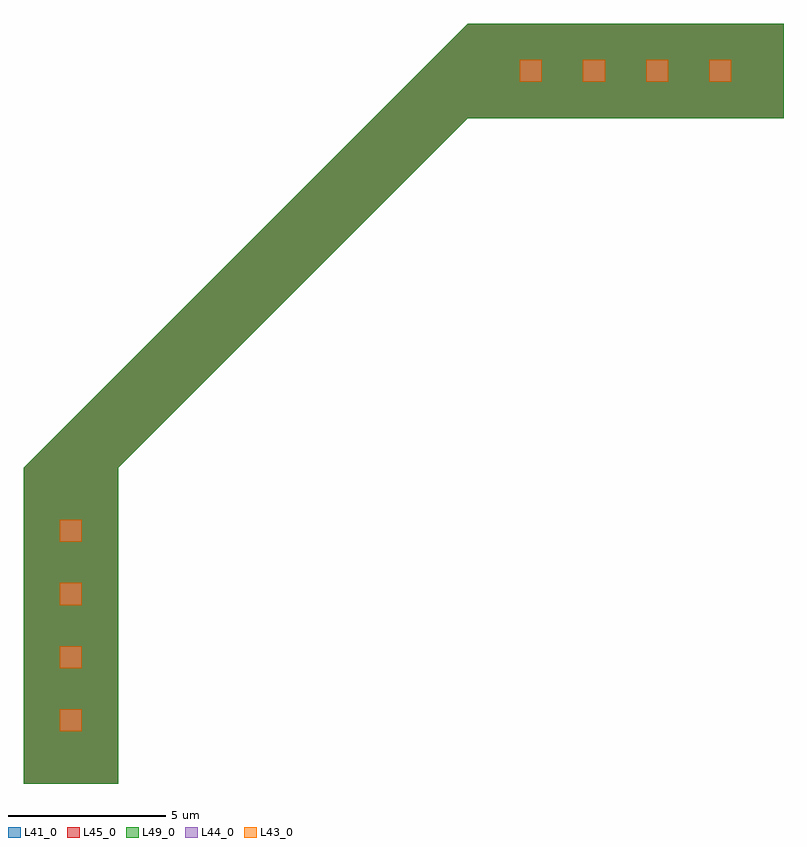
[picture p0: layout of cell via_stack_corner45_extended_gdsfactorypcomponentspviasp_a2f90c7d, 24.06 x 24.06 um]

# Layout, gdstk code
from math import pi, radians
import gdstk
lib = gdstk.Library(unit=1e-6, precision=1e-09)
def R(c, l, rs):  # rectangles x0, y0, x1, y1
    for r in rs: c.add(gdstk.rectangle(r[:2], r[2:], *l))
def P(c, l, *ps):  # polygons
    for p in ps: c.add(gdstk.Polygon(p, *l))
L41_0 = (41, 0)
L43_0 = (43, 0)
L44_0 = (44, 0)
L45_0 = (45, 0)
L49_0 = (49, 0)

via_stack_corner45_gdsfa = lib.new_cell('via_stack_corner45_gdsfactorypcomponentspviaspvia_stack_61191643')
P(via_stack_corner45_gdsfa, L41_0, [(-3,-1.061),(11.061,13),(11.061,10),(0,-1.061)])
P(via_stack_corner45_gdsfa, L45_0, [(-3,-1.061),(11.061,13),(11.061,10),(0,-1.061)])
P(via_stack_corner45_gdsfa, L49_0, [(-3,-1.061),(11.061,13),(11.061,10),(0,-1.061)])

compass_gdsfactorypcompo = lib.new_cell('compass_gdsfactorypcomponentspshapespcompass_S10_3_LM1__e4be3564')
R(compass_gdsfactorypcompo, L41_0, [(-5,-1.5,5,1.5)])

c_compass_gdsfactorypcompo = lib.new_cell('compass_gdsfactorypcomponentspshapespcompass_S10_3_LM2__7649253a')
R(c_compass_gdsfactorypcompo, L45_0, [(-5,-1.5,5,1.5)])

c_compass_gdsfactorypcompo_ = lib.new_cell('compass_gdsfactorypcomponentspshapespcompass_S10_3_LM3__10d12c87')
R(c_compass_gdsfactorypcompo_, L49_0, [(-5,-1.5,5,1.5)])

via_gdsfactorypcomponent = lib.new_cell('via_gdsfactorypcomponentspviaspvia_S0p7_0p7_E1_LVIA1_BL_0068d91e')
R(via_gdsfactorypcomponent, L44_0, [(-0.35,-0.35,0.35,0.35)])

c_via_gdsfactorypcomponent = lib.new_cell('via_gdsfactorypcomponentspviaspvia_S0p7_0p7_E1_LVIA2_BL_c51b5ebb')
R(c_via_gdsfactorypcomponent, L43_0, [(-0.35,-0.35,0.35,0.35)])

via_stack_gdsfactorypcom = lib.new_cell('via_stack_gdsfactorypcomponentspviaspvia_stack_S10_3_LM_f5ab8483')
via_stack_gdsfactorypcom.add(gdstk.Reference(compass_gdsfactorypcompo, (0,0)))
via_stack_gdsfactorypcom.add(gdstk.Reference(c_compass_gdsfactorypcompo, (0,0)))
via_stack_gdsfactorypcom.add(gdstk.Reference(c_compass_gdsfactorypcompo_, (0,0)))
r = gdstk.Reference(via_gdsfactorypcomponent, (-3,0)); r.repetition = gdstk.Repetition(4, 1, v1=(2,0), v2=(0,0)); via_stack_gdsfactorypcom.add(r)
r = gdstk.Reference(c_via_gdsfactorypcomponent, (-3,0)); r.repetition = gdstk.Repetition(4, 1, v1=(2,0), v2=(0,0)); via_stack_gdsfactorypcom.add(r)

via_stack_corner45_exten = lib.new_cell('via_stack_corner45_extended_gdsfactorypcomponentspviasp_a2f90c7d')
via_stack_corner45_exten.add(gdstk.Reference(via_stack_corner45_gdsfa, (0,0)))
via_stack_corner45_exten.add(gdstk.Reference(via_stack_gdsfactorypcom, (-1.5,-6.061), rotation=3*pi/2))
via_stack_corner45_exten.add(gdstk.Reference(via_stack_gdsfactorypcom, (16.061,11.5)))

lib.write_gds('via_stack_corner45_extended_gdsfactorypcomponentspviasp_a2f90c7d.gds')
